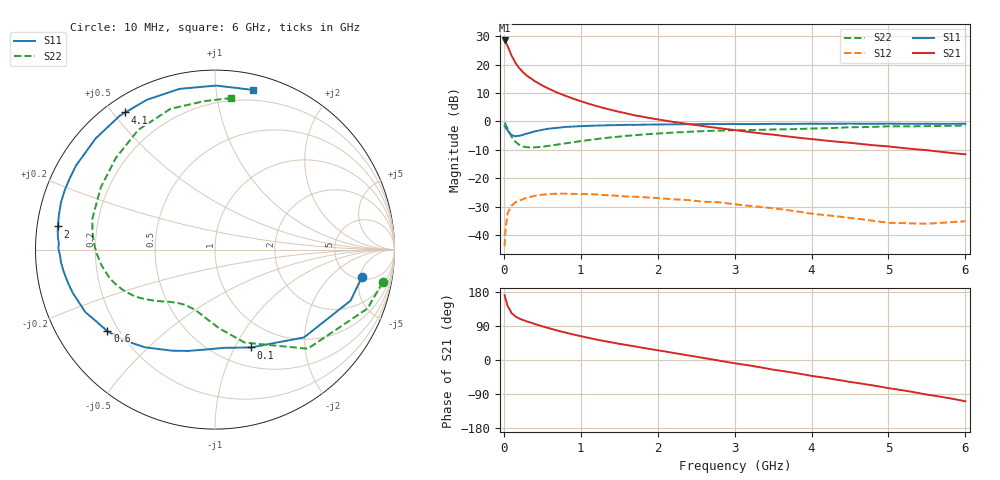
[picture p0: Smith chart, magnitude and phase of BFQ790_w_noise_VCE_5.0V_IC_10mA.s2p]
! Infineon Technologies  Discrete & RF Semiconductors
! BFQ790
! VCE =  5.0 V,  IC =  10 mA
! Common Emitter S-Parameters:  May 2015
# GHz  S  MA  R  50
!  f  S11  S21  S12  S22
! GHz  MAG  ANG  MAG  ANG  MAG  ANG  MAG  ANG
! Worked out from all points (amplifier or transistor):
!   77 points, 10 MHz to 6 GHz, reference 50 ohm
!   highest |S21| = 28.5 dB at 10 MHz (marker M1)
!   |S21| within 3 dB of that: start of sweep to 64.98 MHz
!   unconditionally stable (mu >= 1): 2.437 GHz to end of sweep
!   at 130 MHz: K = 0.67, MSG = 25.3 dB, |S12| = -28.9 dB
!   at 2.2 GHz: K = 0.97, MSG = 13.6 dB, |S12| = -27.4 dB
!   at 6 GHz: K = 4.15, MAG = 2.6 dB, |S12| = -35.1 dB
!   lowest NFmin = 2.10 dB at 450 MHz
!   S11 on the Smith chart (normalised r, x): 10 MHz: 5.49, -5.46; 100 MHz: 0.71, -1.16; 600 MHz: 0.16, -0.33; 2 GHz: 0.06, +0.07; 4.1 GHz: 0.06, +0.54; 6 GHz: 0.12, +1.26
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0.01  0.8334 -10.5  26.66 170.8  0.0064 68.4  0.9521 -11.0
0.02  0.8071 -20.6  25.84 161.9  0.0116 69.0  0.911 -21.1
0.05  0.6969 -44.6  21.01 141.4  0.0245 50.6  0.7563 -46.9
0.1  0.5809 -69.8  14.44 123.3  0.0329 34.2  0.5438 -72.3
0.15  0.5495 -84.9  10.79 114.9  0.0378 27.1  0.4392 -86.9
0.2  0.5608 -96.2  8.714 109.5  0.0405 23.2  0.389 -96.7
0.25  0.5842 -104.9  7.35 105.5  0.043 20.3  0.3635 -104.0
0.3  0.6118 -113.0  6.383 101.7  0.0457 15.9  0.3521 -109.6
0.4  0.6697 -125.6  5.14 95.1  0.0493 10.2  0.35 -118.1
0.5  0.7149 -134.9  4.29 88.8  0.0515 4.4  0.3602 -124.0
0.6  0.7523 -142.8  3.682 83.1  0.0531 -0.1  0.3754 -128.6
0.8  0.8023 -154.3  2.835 72.4  0.0536 -10.2  0.4118 -135.5
0.9  0.814 -159.2  2.525 67.4  0.0532 -14.3  0.4317 -138.5
1.1  0.8383 -166.8  2.06 58.5  0.0528 -21.1  0.4708 -143.9
1.3  0.8546 -172.7  1.723 50.3  0.0507 -27.4  0.5088 -148.8
1.5  0.8645 -178.1  1.478 42.8  0.049 -33.6  0.5419 -153.7
2  0.8852 171.6  1.088 25.6  0.0449 -46.1  0.6139 -166.4
2.1  0.8875 169.4  1.035 22.4  0.0438 -48.4  0.625 -169.3
3.1  0.9026 146.5  0.678 -11.7  0.0338 -71.2  0.705 162.9
4.1  0.9131 123.2  0.475 -44.8  0.0231 -82.6  0.7566 134.1
5.1  0.9128 99.9  0.352 -77.3  0.0164 -80.8  0.8206 104.8
6  0.9146 76.5  0.265 -109.0  0.0176 -69.6  0.8496 83.8
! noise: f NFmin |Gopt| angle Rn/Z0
0.45  2.1  0.38  85  0.37
0.9  2.34  0.53  146  0.17
1.5  2.99  0.71  177  0.07
1.8  3.51  0.73  -176  0.09
2.6  4.97  0.8  -157  0.34
3.5  6.68  0.95  -139  1.34
